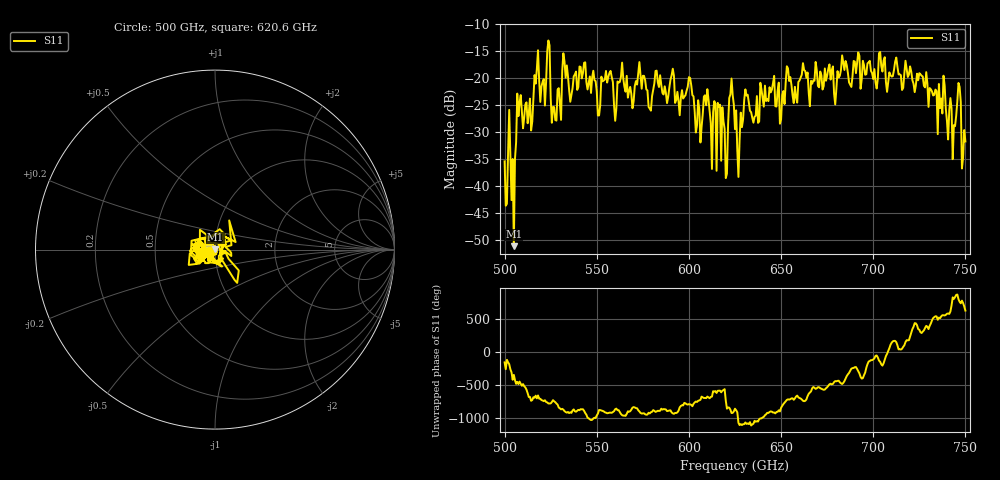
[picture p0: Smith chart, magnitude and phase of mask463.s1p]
!Created with skrf (http://scikit-rf.org).
# GHz S MA R 50.0
!freq magS11 angS11
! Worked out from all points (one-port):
!   401 points, 500 GHz to 750 GHz, reference 50 ohm
!   lowest |S11| = -51.2 dB at 505 GHz (marker M1), VSWR 1.01, Z = 50.3 + j0.0642 ohm
!   |S11| at or under -10 dB: start of sweep to end of sweep
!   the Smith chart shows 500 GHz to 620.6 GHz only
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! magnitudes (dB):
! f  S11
! 500 GHz  -35.5
! 503.1 GHz  -34.0
! 505 GHz  -51.2
! 508.1 GHz  -24.5
! 513.8 GHz  -23.8
! 517.5 GHz  -18.3
! 520.6 GHz  -20.7
! 523.8 GHz  -13.0
! 526.9 GHz  -25.4
! 531.2 GHz  -18.8
! 542.5 GHz  -19.1
! 550.6 GHz  -27.0
! 562.5 GHz  -20.7
! 593.8 GHz  -22.6
! 600.6 GHz  -20.0
! 605 GHz  -24.1
! 609.4 GHz  -25.1
! 620 GHz  -38.6
! 623.1 GHz  -20.1
! 625 GHz  -29.5
! 627.5 GHz  -31.5
! 631.2 GHz  -23.3
! 656.2 GHz  -23.3
! 687.5 GHz  -21.2
! 718.8 GHz  -19.8
! 743.8 GHz  -28.7
! 746.2 GHz  -20.9
! 750 GHz  -31.8
